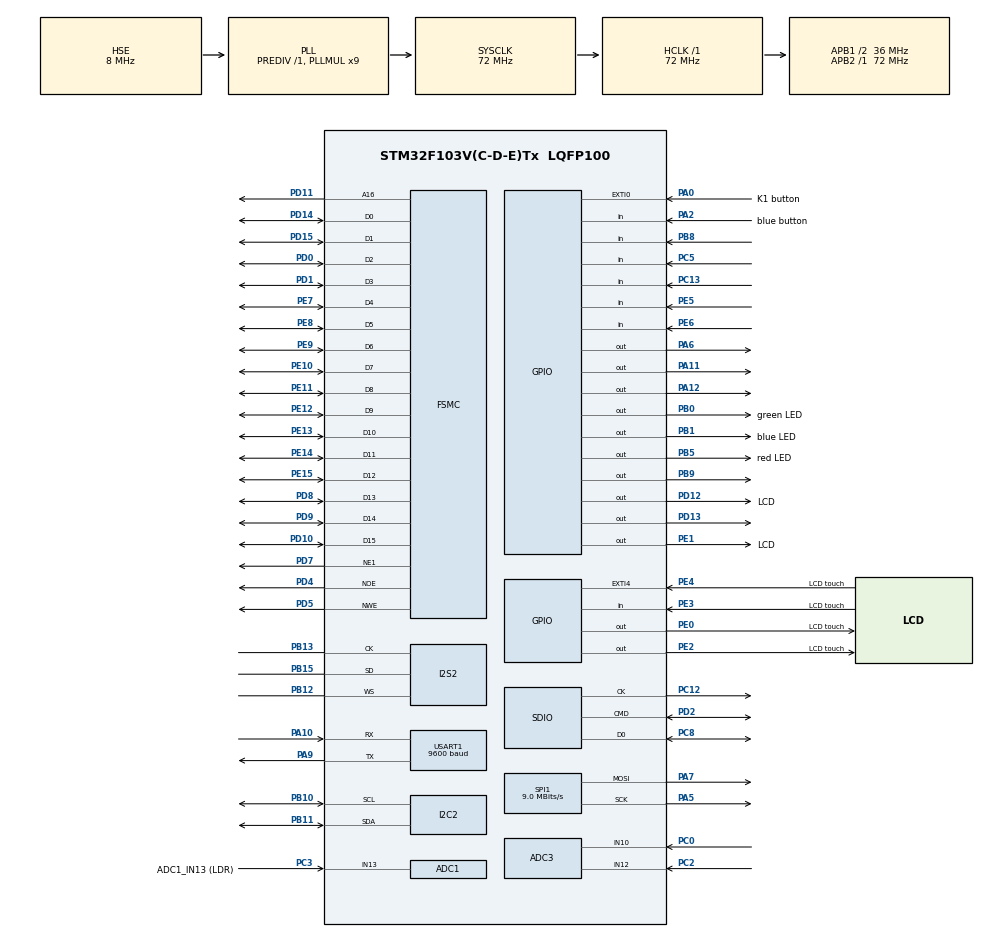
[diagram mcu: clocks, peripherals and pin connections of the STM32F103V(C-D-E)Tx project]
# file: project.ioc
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ADC1.Channel-0\#ChannelRegularConversion=ADC_CHANNEL_13
ADC1.NbrOfConversionFlag=1
ADC1.Rank-0\#ChannelRegularConversion=1
ADC1.SamplingTime-0\#ChannelRegularConversion=ADC_SAMPLETIME_1CYCLE_5
ADC1.master=1
ADC3.Channel-0\#ChannelRegularConversion=ADC_CHANNEL_10
ADC3.Channel-1\#ChannelRegularConversion=ADC_CHANNEL_12
ADC3.ContinuousConvMode=ENABLE
ADC3.NbrOfConversion=2
ADC3.NbrOfConversionFlag=1
ADC3.Rank-0\#ChannelRegularConversion=1
ADC3.Rank-1\#ChannelRegularConversion=2
ADC3.SamplingTime-0\#ChannelRegularConversion=ADC_SAMPLETIME_239CYCLES_5
ADC3.SamplingTime-1\#ChannelRegularConversion=ADC_SAMPLETIME_239CYCLES_5
Dma.ADC3.0.Direction=DMA_PERIPH_TO_MEMORY
Dma.ADC3.0.Instance=DMA2_Channel5
Dma.ADC3.0.MemDataAlignment=DMA_MDATAALIGN_WORD
Dma.ADC3.0.MemInc=DMA_MINC_ENABLE
Dma.ADC3.0.Mode=DMA_CIRCULAR
Dma.ADC3.0.PeriphDataAlignment=DMA_PDATAALIGN_WORD
Dma.ADC3.0.PeriphInc=DMA_PINC_DISABLE
Dma.ADC3.0.Priority=DMA_PRIORITY_LOW
Dma.Request0=ADC3
Dma.Request1=SPI2_TX
Dma.Request2=SPI1_TX
Dma.SPI1_TX.2.Direction=DMA_MEMORY_TO_PERIPH
Dma.SPI1_TX.2.Instance=DMA1_Channel3
Dma.SPI1_TX.2.MemDataAlignment=DMA_MDATAALIGN_BYTE
Dma.SPI1_TX.2.MemInc=DMA_MINC_ENABLE
Dma.SPI1_TX.2.Mode=DMA_NORMAL
Dma.SPI1_TX.2.PeriphDataAlignment=DMA_PDATAALIGN_BYTE
Dma.SPI1_TX.2.PeriphInc=DMA_PINC_DISABLE
Dma.SPI1_TX.2.Priority=DMA_PRIORITY_LOW
Dma.SPI2_TX.1.Direction=DMA_MEMORY_TO_PERIPH
Dma.SPI2_TX.1.Instance=DMA1_Channel5
Dma.SPI2_TX.1.MemDataAlignment=DMA_MDATAALIGN_HALFWORD
Dma.SPI2_TX.1.MemInc=DMA_MINC_ENABLE
Dma.SPI2_TX.1.Mode=DMA_CIRCULAR
Dma.SPI2_TX.1.PeriphDataAlignment=DMA_PDATAALIGN_HALFWORD
Dma.SPI2_TX.1.PeriphInc=DMA_PINC_DISABLE
Dma.SPI2_TX.1.Priority=DMA_PRIORITY_LOW
FATFS._MAX_SS=4096
I2C2.I2C_Mode=I2C_Fast
I2S2.AudioFreq=I2S_AUDIOFREQ_48K
I2S2.CPOL=I2S_CPOL_LOW
I2S2.DataFormat=I2S_DATAFORMAT_16B
I2S2.ErrorAudioFreq=-0.26 %
I2S2.Instance=SPI$Index
I2S2.RealAudioFreq=47.872 KHz
I2S2.VirtualMode=I2S_MODE_MASTER
Mcu.Family=STM32F1
Mcu.Name=STM32F103V(C-D-E)Tx
Mcu.Package=LQFP100
NVIC.DMA1_Channel3_IRQn=true\:0\:0\:false\:false\:true\:false\:true\:true
NVIC.DMA1_Channel5_IRQn=true\:0\:0\:false\:false\:true\:false\:true\:true
NVIC.DMA2_Channel4_5_IRQn=true\:0\:0\:true\:false\:true\:false\:true\:true
NVIC.EXTI0_IRQn=true\:0\:0\:true\:false\:true\:true\:true\:true
NVIC.EXTI4_IRQn=true\:0\:0\:true\:false\:true\:true\:true\:true
NVIC.PriorityGroup=NVIC_PRIORITYGROUP_4
NVIC.TIM3_IRQn=true\:1\:0\:true\:false\:true\:true\:true\:true
OSC_IN.Mode=HSE-External-Oscillator
OSC_IN.Signal=RCC_OSC_IN
OSC_OUT.Mode=HSE-External-Oscillator
OSC_OUT.Signal=RCC_OSC_OUT
PA0-WKUP.GPIO_Label=K1 button
PA0-WKUP.GPIO_ModeDefaultEXTI=GPIO_MODE_IT_RISING
PA0-WKUP.Signal=GPXTI0
PA10.Mode=Asynchronous
PA10.Signal=USART1_RX
PA11.GPIO_ModeDefaultOutputPP=GPIO_MODE_OUTPUT_PP
PA11.GPIO_Speed=GPIO_SPEED_FREQ_HIGH
PA11.PinState=GPIO_PIN_SET
PA11.Signal=GPIO_Output
PA12.GPIO_Speed=GPIO_SPEED_FREQ_HIGH
PA12.Signal=GPIO_Output
PA13.Mode=Serial_Wire
PA13.Signal=SYS_JTMS-SWDIO
PA14.Mode=Serial_Wire
PA14.Signal=SYS_JTCK-SWCLK
PA2.GPIO_Label=blue button
PA2.GPIO_PuPd=GPIO_NOPULL
PA2.Signal=GPIO_Input
PA5.Mode=TX_Only_Simplex_Unidirect_Master
PA5.Signal=SPI1_SCK
PA6.GPIO_Speed=GPIO_SPEED_FREQ_HIGH
PA6.Signal=GPIO_Output
PA7.Mode=TX_Only_Simplex_Unidirect_Master
PA7.Signal=SPI1_MOSI
PA9.Mode=Asynchronous
PA9.Signal=USART1_TX
PB0.GPIO_Label=green LED
PB0.GPIO_Speed=GPIO_SPEED_FREQ_HIGH
PB0.PinState=GPIO_PIN_SET
PB0.Signal=GPIO_Output
PB1.GPIO_Label=blue LED
PB1.GPIO_Speed=GPIO_SPEED_FREQ_HIGH
PB1.PinState=GPIO_PIN_SET
PB1.Signal=GPIO_Output
PB10.Mode=I2C
PB10.Signal=I2C2_SCL
PB11.Mode=I2C
PB11.Signal=I2C2_SDA
PB12.Mode=Half_Duplex_Master_TX
PB12.Signal=I2S2_WS
PB13.Mode=Half_Duplex_Master_TX
PB13.Signal=I2S2_CK
PB15.Mode=Half_Duplex_Master_TX
PB15.Signal=I2S2_SD
PB5.GPIO_Label=red LED
PB5.GPIO_Speed=GPIO_SPEED_FREQ_HIGH
PB5.PinState=GPIO_PIN_SET
PB5.Signal=GPIO_Output
PB8.Signal=GPIO_Input
PB9.Signal=GPIO_Output
PC0.Signal=ADCx_IN10
PC12.Mode=SD_1_bit
PC12.Signal=SDIO_CK
PC13-TAMPER-RTC.Signal=GPIO_Input
PC14-OSC32_IN.Mode=LSE-External-Oscillator
PC14-OSC32_IN.Signal=RCC_OSC32_IN
PC15-OSC32_OUT.Mode=LSE-External-Oscillator
PC15-OSC32_OUT.Signal=RCC_OSC32_OUT
PC2.Signal=ADCx_IN12
PC3.GPIO_Label=ADC1_IN13 (LDR)
PC3.Signal=ADCx_IN13
PC5.Signal=GPIO_Input
PC8.Mode=SD_1_bit
PC8.Signal=SDIO_D0
PD0.Mode=16b-d1
PD0.Signal=FSMC_D2
PD1.Mode=16b-d1
PD1.Signal=FSMC_D3
PD10.Mode=16b-d1
PD10.Signal=FSMC_D15
PD11.Mode=A16_1
PD11.Signal=FSMC_A16
PD12.GPIO_Label=LCD
PD12.GPIO_Speed=GPIO_SPEED_FREQ_HIGH
PD12.Signal=GPIO_Output
PD13.GPIO_Speed=GPIO_SPEED_FREQ_HIGH
PD13.Signal=GPIO_Output
PD14.Mode=16b-d1
PD14.Signal=FSMC_D0
PD15.Mode=16b-d1
PD15.Signal=FSMC_D1
PD2.Mode=SD_1_bit
PD2.Signal=SDIO_CMD
PD4.Mode=Lcd1
PD4.Signal=FSMC_NOE
PD5.Mode=Lcd1
PD5.Signal=FSMC_NWE
PD7.Mode=NorPsramChipSelect1_1
PD7.Signal=FSMC_NE1
PD8.Mode=16b-d1
PD8.Signal=FSMC_D13
PD9.Mode=16b-d1
PD9.Signal=FSMC_D14
PE0.GPIO_Label=LCD touch
PE0.GPIO_Speed=GPIO_SPEED_FREQ_HIGH
PE0.Signal=GPIO_Output
PE1.GPIO_Label=LCD
PE1.GPIO_Speed=GPIO_SPEED_FREQ_HIGH
PE1.Signal=GPIO_Output
PE10.Mode=16b-d1
PE10.Signal=FSMC_D7
PE11.Mode=16b-d1
PE11.Signal=FSMC_D8
PE12.Mode=16b-d1
PE12.Signal=FSMC_D9
PE13.Mode=16b-d1
PE13.Signal=FSMC_D10
PE14.Mode=16b-d1
PE14.Signal=FSMC_D11
PE15.Mode=16b-d1
PE15.Signal=FSMC_D12
PE2.GPIO_Label=LCD touch
PE2.GPIO_Speed=GPIO_SPEED_FREQ_HIGH
PE2.Signal=GPIO_Output
PE3.GPIO_Label=LCD touch
PE3.GPIO_PuPd=GPIO_PULLUP
PE3.Signal=GPIO_Input
PE4.GPIO_Label=LCD touch
PE4.Signal=GPXTI4
PE5.Signal=GPIO_Input
PE6.Signal=GPIO_Input
PE7.Mode=16b-d1
PE7.Signal=FSMC_D4
PE8.Mode=16b-d1
PE8.Signal=FSMC_D5
PE9.Mode=16b-d1
PE9.Signal=FSMC_D6
ProjectManager.HeapSize=0x200
ProjectManager.StackSize=0x400
ProjectManager.TargetToolchain=STM32CubeIDE
RCC.ADCPresc=RCC_ADCPCLK2_DIV6
RCC.AHBFreq_Value=72000000
RCC.APB1CLKDivider=RCC_HCLK_DIV2
RCC.APB1Freq_Value=36000000
RCC.APB1TimFreq_Value=72000000
RCC.APB2Freq_Value=72000000
RCC.APB2TimFreq_Value=72000000
RCC.HCLKFreq_Value=72000000
RCC.PLLMUL=RCC_PLL_MUL9
RCC.PLLSourceVirtual=RCC_PLLSOURCE_HSE
RCC.SYSCLKFreq_VALUE=72000000
RCC.SYSCLKSource=RCC_SYSCLKSOURCE_PLLCLK
RCC.USBFreq_Value=72000000
SDIO.ClockDiv=6
SDIO.HardwareFlowControl=SDIO_HARDWARE_FLOW_CONTROL_ENABLE
SH.ADCx_IN10.0=ADC3_IN10,IN10
SH.ADCx_IN12.0=ADC3_IN12,IN12
SH.ADCx_IN13.0=ADC1_IN13,IN13
SPI1.BaudRatePrescaler=SPI_BAUDRATEPRESCALER_8
SPI1.CalculateBaudRate=9.0 MBits/s
SPI1.Direction=SPI_DIRECTION_2LINES
SPI1.Mode=SPI_MODE_MASTER
SPI1.VirtualType=VM_MASTER
TIM1.Period=0xffff-1
TIM1.Prescaler=72-1
TIM2.Prescaler=71
TIM3.Period=10000
TIM3.Prescaler=7199
USART1.BaudRate=9600
USART1.VirtualMode=VM_ASYNC
VP_FATFS_VS_SDIO.Mode=SDIO
VP_TIM1_VS_ClockSourceINT.Mode=Internal
VP_TIM2_VS_ClockSourceINT.Mode=Internal
VP_TIM3_VS_ClockSourceINT.Mode=Internal
board=custom

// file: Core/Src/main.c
/* USER CODE BEGIN Header */
/**
  ******************************************************************************
  * @file           : main.c
  * @brief          : Main program body
  ******************************************************************************
  * @attention
  *
  * Copyright (c) 2024 STMicroelectronics.
  * All rights reserved.
  *
  * This software is licensed under terms that can be found in the LICENSE file
  * in the root directory of this software component.
  * If no LICENSE file comes with this software, it is provided AS-IS.
  *
  ******************************************************************************
  */
/* USER CODE END Header */
#include "main.h"
#include "fatfs.h"

/* USER CODE BEGIN Includes */
#include "maze.h"
#include "move.h"
#include "xpt2046.h"
#include "max7219.h"
#include "game.h"
#include "mpu6050.h"
/* USER CODE END Includes */

 ADC_HandleTypeDef hadc1;
ADC_HandleTypeDef hadc3;
DMA_HandleTypeDef hdma_adc3;

I2C_HandleTypeDef hi2c2;

I2S_HandleTypeDef hi2s2;
DMA_HandleTypeDef hdma_spi2_tx;

SD_HandleTypeDef hsd;

SPI_HandleTypeDef hspi1;
DMA_HandleTypeDef hdma_spi1_tx;

TIM_HandleTypeDef htim1;
TIM_HandleTypeDef htim2;
TIM_HandleTypeDef htim3;

UART_HandleTypeDef huart1;

SRAM_HandleTypeDef hsram1;

/* USER CODE BEGIN PV */

 //*** start_x, start_y. rows, columns -> need to be odd(for generate_maze algo)***
 uint8_t **maze;	//dynamically allocated array
 uint8_t rows, columns, start_x, end_x, start_y, end_y, current_x, current_y, next_x, next_y;
 uint8_t hearts;
 uint8_t keys = 0;
 uint8_t end = 0; // 0 - not end //1 - win //2 - lose
 uint8_t restart_flag = 0;	//for k1/win/lose check for next round
 volatile int timer = 0;	//mark the count down timer
 volatile int tim = 0;
 uint8_t duration = -1;
 const uint8_t block_size = 16;
 uint32_t joy[] = {0,0};

 uint8_t Rxstr;

 const uint8_t key[] = //24x32
 {
 0x00, 0x00, 0xf8, 0x07, 0x00, 0x00, 0xff, 0x0f, 0x00,
 0x80, 0xff, 0x1f, 0x00, 0xc0, 0xff, 0x3f, 0x00, 0xc0,
 0xff, 0x3f, 0x00, 0xc0, 0xff, 0x7f, 0x00, 0xc0, 0xff,
 0x7f, 0x00, 0xc0, 0xff, 0x7f, 0x00, 0xc0, 0xff, 0x3f,
 0x00, 0xc0, 0xff, 0x3f, 0x00, 0xc0, 0xff, 0x1f, 0x00,
 0xf0, 0xff, 0x0f, 0x00, 0xf8, 0xff, 0x07, 0x00, 0xfc,
 0xff, 0x01, 0x00, 0x7e, 0x00, 0x00, 0x00, 0x3f, 0x00,
 0x00, 0xc0, 0x1f, 0x00, 0x00, 0xe0, 0x07, 0x00, 0x00,
 0xf0, 0x03, 0x00, 0x00, 0xf8, 0x00, 0x00, 0x00, 0x7c,
 0x00, 0x00, 0x00, 0x1c, 0x00, 0x00, 0x00, 0x00, 0x00,
 0x00, 0x00, 0x00, 0x00, 0x00, 0x00
 };

 const uint8_t heart[] =	//24x32
 {
 0xf8, 0x01, 0x80, 0x1f, 0xfc, 0x03, 0xf0, 0x3f, 0xfc,
 0x0f, 0xf8, 0x3f, 0xfe, 0x1f, 0xfc, 0x7f, 0xfe, 0x3f,
 0xfc, 0x7f, 0xfe, 0x7f, 0xfe, 0x7f, 0xfe, 0xff, 0xff,
 0x7f, 0xfe, 0xff, 0xff, 0x7f, 0xfc, 0xff, 0xff, 0x3f,
 0xfc, 0xff, 0xff, 0x3f, 0xfc, 0xff, 0xff, 0x3f, 0xf8,
 0xff, 0xff, 0x1f, 0xf8, 0xff, 0xff, 0x1f, 0xf0, 0xff,
 0xff, 0x0f, 0xf0, 0xff, 0xff, 0x07, 0xe0, 0xff, 0xff,
 0x03, 0xe0, 0xff, 0xff, 0x01, 0xc0, 0xff, 0xff, 0x01,
 0x80, 0xff, 0xff, 0x00, 0x00, 0xfe, 0x7f, 0x00, 0x00,
 0xfc, 0x3f, 0x00, 0x00, 0xf8, 0x1f, 0x00, 0x00, 0xf0,
 0x1f, 0x00, 0x00, 0xc0, 0x07, 0x00
 };

 const uint8_t start[] =	//16x16
 {
 0xc0, 0x03, 0xe0, 0x0f, 0xf0, 0x1f, 0xf8, 0x1f, 0xf8, 0x1f, 0xf8, 0x1f, 0xf8, 0x1f, 0xf0, 0x0f, 0xc0, 0x07, 0xf0, 0x1f, 0xd8, 0x37, 0xcc, 0x67, 0xc0, 0x07, 0xc0, 0x06, 0xc0, 0x06, 0xc0, 0x06
 };
 const uint8_t endpt[] =
 {
 0x00, 0x00, 0x00, 0x00, 0x38, 0x20, 0xfe, 0x38, 0xfe, 0x3f, 0xfe, 0x3f, 0xfe, 0x3f, 0xfe, 0x3f, 0xfe, 0x3f, 0xc6, 0x3f, 0x00, 0x3f, 0x00, 0x30, 0x00, 0x30, 0x00, 0x30, 0x00, 0x30, 0x00, 0x30
 };
 const uint8_t elekey[] =
 {
 0x00, 0x00, 0x00, 0x3f, 0xc0, 0x7f, 0xc0, 0x7f, 0xc0, 0xff, 0xc0, 0xff, 0xc0, 0xff, 0x80, 0xff, 0xc0, 0x7f, 0xe0, 0x3d, 0xf0, 0x01, 0xf8, 0x00, 0x3c, 0x00, 0x1e, 0x00, 0x0e, 0x00, 0x00, 0x00
 };
 const uint8_t game[] =
 {
 0xc0, 0x01, 0xe0, 0x03, 0xf0, 0x07, 0xf0, 0x07, 0xf0, 0x07, 0xf0, 0x07, 0xf0, 0x07, 0xf0, 0x07, 0xf0, 0x07, 0xe0, 0x03, 0xe0, 0x03, 0xe0, 0x03, 0xc0, 0x01, 0x00, 0x00, 0xc0, 0x01, 0xc0, 0x01
 };
 const uint8_t event[] =
 {
 0xc0, 0x07, 0xf0, 0x1f, 0xf8, 0x3f, 0x3c, 0x38, 0x1c, 0x38, 0x1c, 0x1e, 0x00, 0x1f, 0xc0, 0x0f, 0xc0, 0x03, 0xc0, 0x01, 0xc0, 0x01, 0xc0, 0x01, 0xc0, 0x01, 0x00, 0x00, 0xc0, 0x01, 0xc0, 0x01
 };
 const uint8_t sheart[] =
 {
 0x00, 0x00, 0x1c, 0x38, 0x3e, 0x7c, 0x7f, 0xfe, 0xff, 0xff, 0xff, 0xff, 0xfe, 0x7f, 0xfe, 0x7f, 0xfc, 0x3f, 0xf8, 0x1f, 0xf0, 0x0f, 0xe0, 0x07, 0xe0, 0x03, 0xc0, 0x03, 0x80, 0x01, 0x00, 0x00
 };
 const uint8_t toxic[] =
 {
 0x00, 0x00, 0xf0, 0x07, 0xf9, 0x4f, 0xcf, 0x79, 0xcf, 0x79, 0xcc, 0x19, 0xf8, 0x0f, 0x7c, 0x1f, 0x3e, 0x3e, 0xff, 0x7f, 0xe3, 0x63, 0xe1, 0x43, 0xc0, 0x01, 0x00, 0x00, 0x00, 0x00, 0x00, 0x00
 };
 const uint8_t random_move[] =
 {
 0x58, 0x04, 0x98, 0x84, 0x30, 0xcd, 0xe3, 0x6f, 0xfe, 0x1f, 0xfc, 0xef, 0xfc, 0x3f, 0xfe, 0x1f, 0xff, 0x1f, 0xf8, 0x7f, 0xfe, 0x8f, 0xf2, 0x1b, 0xb9, 0x19, 0x18, 0x33, 0x08, 0x03, 0x00, 0x02
 };

// MPU6050_t MPU6050;
/* USER CODE END PV */

void SystemClock_Config(void);
static void MX_GPIO_Init(void);
static void MX_FSMC_Init(void);
static void MX_ADC1_Init(void);
static void MX_TIM3_Init(void);
static void MX_TIM1_Init(void);
static void MX_I2S2_Init(void);
static void MX_SDIO_SD_Init(void);
static void MX_DMA_Init(void);
static void MX_ADC3_Init(void);
static void MX_SPI1_Init(void);
static void MX_USART1_UART_Init(void);
static void MX_TIM2_Init(void);
static void MX_I2C2_Init(void);
/* USER CODE BEGIN PFP */
void HAL_I2S_TxHalfCpltCallback(I2S_HandleTypeDef *hi2s);
void HAL_I2S_TxCpltCallback(I2S_HandleTypeDef *hi2s);
/* USER CODE END PFP */

/* USER CODE BEGIN 0 */
/*
int measure_Distance() {
    double initialX = 0;

    MPU6050_Read_All(&hi2c2, &MPU6050);
    HAL_Delay(100);

    char textangle[] = "X";
    LCD_DrawString(40, 60, textangle, RED);
    char angleString[4];
    initialX = MPU6050.Ax * 100;

    sprintf(angleString, "%.2f", initialX);
    LCD_DrawString(80, 80, angleString, RED);
    HAL_Delay(200);
    LCD_DrawString(80, 80,  "                   ", RED);

    return initialX; // Return the calculated distanceX, you can modify this to return distanceY or any other value based on your requirements
}

int pushorpull() {
    while (1) {

    	double X1 = measure_Distance();
		HAL_Delay(750);
    	double X2 = measure_Distance();

        if (X1 >= X2) {
            LCD_DrawChar(60,60, 'F', RED);
            HAL_Delay(100);
            return 0;

        } else {
            LCD_DrawChar(60,60, 'B', RED);
            HAL_Delay(100);
            return 1;

        }
    }
}
*/

/* USER CODE END 0 */

int main(void)
{

  /* MCU Configuration--------------------------------------------------------*/

  /* Reset of all peripherals, Initializes the Flash interface and the Systick. */
  HAL_Init();

  /* Configure the system clock */
  SystemClock_Config();

  /* Initialize all configured peripherals */
  MX_GPIO_Init();
  MX_FSMC_Init();
  MX_ADC1_Init();
  MX_TIM3_Init();
  MX_TIM1_Init();
  MX_I2S2_Init();
  MX_SDIO_SD_Init();
  MX_DMA_Init();
  MX_ADC3_Init();
  MX_FATFS_Init();
  MX_SPI1_Init();
  MX_USART1_UART_Init();
  MX_TIM2_Init();
  MX_I2C2_Init();
  /* USER CODE BEGIN 2 */
  macXPT2046_CS_DISABLE();
  LCD_INIT();
  HAL_TIM_Base_Start_IT(&htim3);
  HAL_TIM_Base_Start_IT(&htim1);
  HAL_ADCEx_Calibration_Start(&hadc1);	//adc calibration
  HAL_ADCEx_Calibration_Start(&hadc3);	//adc calibration
  HAL_ADC_Start_DMA(&hadc3, joy, 2);
  max7219_Init();
  //HAL_ADC_Stop(&hadc3);
  HAL_TIM_Base_Start(&htim2);

  //light_pattern();
  /* USER CODE END 2 */

  /* Infinite loop */
  /* USER CODE BEGIN WHILE */
  /*
  while (MPU6050_Init(&hi2c2) == 1);

    int temp = pushorpull();
    if (temp == 0)
    {
  	  char forward[] = "Forward";
  	  LCD_DrawString(10, 10, forward, RED);
    }
    if (temp == 1)
    {
  	  char backward[] = "Backward";
  	  LCD_DrawString(10, 10, backward, RED);
    }*/

  while( ! XPT2046_Touch_Calibrate () );

  setRandomSeed();	//random the seed
  maze_all();

  //interrupt - k1 -> next round

  while (1)
  {
	  //handle movement
	 move();
    /* USER CODE END WHILE */

  }
}

void SystemClock_Config(void)
{
  RCC_OscInitTypeDef RCC_OscInitStruct = {0};
  RCC_ClkInitTypeDef RCC_ClkInitStruct = {0};
  RCC_PeriphCLKInitTypeDef PeriphClkInit = {0};

  /** Initializes the RCC Oscillators according to the specified parameters
  * in the RCC_OscInitTypeDef structure.
  */
  RCC_OscInitStruct.OscillatorType = RCC_OSCILLATORTYPE_HSE;
  RCC_OscInitStruct.HSEState = RCC_HSE_ON;
  RCC_OscInitStruct.HSEPredivValue = RCC_HSE_PREDIV_DIV1;
  RCC_OscInitStruct.HSIState = RCC_HSI_ON;
  RCC_OscInitStruct.PLL.PLLState = RCC_PLL_ON;
  RCC_OscInitStruct.PLL.PLLSource = RCC_PLLSOURCE_HSE;
  RCC_OscInitStruct.PLL.PLLMUL = RCC_PLL_MUL9;
  if (HAL_RCC_OscConfig(&RCC_OscInitStruct) != HAL_OK)
  {
    Error_Handler();
  }

  /** Initializes the CPU, AHB and APB buses clocks
  */
  RCC_ClkInitStruct.ClockType = RCC_CLOCKTYPE_HCLK|RCC_CLOCKTYPE_SYSCLK
                              |RCC_CLOCKTYPE_PCLK1|RCC_CLOCKTYPE_PCLK2;
  RCC_ClkInitStruct.SYSCLKSource = RCC_SYSCLKSOURCE_PLLCLK;
  RCC_ClkInitStruct.AHBCLKDivider = RCC_SYSCLK_DIV1;
  RCC_ClkInitStruct.APB1CLKDivider = RCC_HCLK_DIV2;
  RCC_ClkInitStruct.APB2CLKDivider = RCC_HCLK_DIV1;

  if (HAL_RCC_ClockConfig(&RCC_ClkInitStruct, FLASH_LATENCY_2) != HAL_OK)
  {
    Error_Handler();
  }
  PeriphClkInit.PeriphClockSelection = RCC_PERIPHCLK_ADC|RCC_PERIPHCLK_I2S2;
  PeriphClkInit.AdcClockSelection = RCC_ADCPCLK2_DIV6;
  PeriphClkInit.I2s2ClockSelection = RCC_I2S2CLKSOURCE_SYSCLK;
  if (HAL_RCCEx_PeriphCLKConfig(&PeriphClkInit) != HAL_OK)
  {
    Error_Handler();
  }
}

static void MX_ADC1_Init(void)
{

  ADC_ChannelConfTypeDef sConfig = {0};

  /** Common config
  */
  hadc1.Instance = ADC1;
  hadc1.Init.ScanConvMode = ADC_SCAN_DISABLE;
  hadc1.Init.ContinuousConvMode = DISABLE;
  hadc1.Init.DiscontinuousConvMode = DISABLE;
  hadc1.Init.ExternalTrigConv = ADC_SOFTWARE_START;
  hadc1.Init.DataAlign = ADC_DATAALIGN_RIGHT;
  hadc1.Init.NbrOfConversion = 1;
  if (HAL_ADC_Init(&hadc1) != HAL_OK)
  {
    Error_Handler();
  }

  /** Configure Regular Channel
  */
  sConfig.Channel = ADC_CHANNEL_13;
  sConfig.Rank = ADC_REGULAR_RANK_1;
  sConfig.SamplingTime = ADC_SAMPLETIME_1CYCLE_5;
  if (HAL_ADC_ConfigChannel(&hadc1, &sConfig) != HAL_OK)
  {
    Error_Handler();
  }

}

static void MX_ADC3_Init(void)
{

  ADC_ChannelConfTypeDef sConfig = {0};

  /** Common config
  */
  hadc3.Instance = ADC3;
  hadc3.Init.ScanConvMode = ADC_SCAN_ENABLE;
  hadc3.Init.ContinuousConvMode = ENABLE;
  hadc3.Init.DiscontinuousConvMode = DISABLE;
  hadc3.Init.ExternalTrigConv = ADC_SOFTWARE_START;
  hadc3.Init.DataAlign = ADC_DATAALIGN_RIGHT;
  hadc3.Init.NbrOfConversion = 2;
  if (HAL_ADC_Init(&hadc3) != HAL_OK)
  {
    Error_Handler();
  }

  /** Configure Regular Channel
  */
  sConfig.Channel = ADC_CHANNEL_10;
  sConfig.Rank = ADC_REGULAR_RANK_1;
  sConfig.SamplingTime = ADC_SAMPLETIME_239CYCLES_5;
  if (HAL_ADC_ConfigChannel(&hadc3, &sConfig) != HAL_OK)
  {
    Error_Handler();
  }

  /** Configure Regular Channel
  */
  sConfig.Channel = ADC_CHANNEL_12;
  sConfig.Rank = ADC_REGULAR_RANK_2;
  if (HAL_ADC_ConfigChannel(&hadc3, &sConfig) != HAL_OK)
  {
    Error_Handler();
  }

}

static void MX_I2C2_Init(void)
{

  hi2c2.Instance = I2C2;
  hi2c2.Init.ClockSpeed = 400000;
  hi2c2.Init.DutyCycle = I2C_DUTYCYCLE_2;
  hi2c2.Init.OwnAddress1 = 0;
  hi2c2.Init.AddressingMode = I2C_ADDRESSINGMODE_7BIT;
  hi2c2.Init.DualAddressMode = I2C_DUALADDRESS_DISABLE;
  hi2c2.Init.OwnAddress2 = 0;
  hi2c2.Init.GeneralCallMode = I2C_GENERALCALL_DISABLE;
  hi2c2.Init.NoStretchMode = I2C_NOSTRETCH_DISABLE;
  if (HAL_I2C_Init(&hi2c2) != HAL_OK)
  {
    Error_Handler();
  }

}

static void MX_I2S2_Init(void)
{

  hi2s2.Instance = SPI2;
  hi2s2.Init.Mode = I2S_MODE_MASTER_TX;
  hi2s2.Init.Standard = I2S_STANDARD_PHILIPS;
  hi2s2.Init.DataFormat = I2S_DATAFORMAT_16B;
  hi2s2.Init.MCLKOutput = I2S_MCLKOUTPUT_DISABLE;
  hi2s2.Init.AudioFreq = I2S_AUDIOFREQ_48K;
  hi2s2.Init.CPOL = I2S_CPOL_LOW;
  if (HAL_I2S_Init(&hi2s2) != HAL_OK)
  {
    Error_Handler();
  }

}

static void MX_SDIO_SD_Init(void)
{

  hsd.Instance = SDIO;
  hsd.Init.ClockEdge = SDIO_CLOCK_EDGE_RISING;
  hsd.Init.ClockBypass = SDIO_CLOCK_BYPASS_DISABLE;
  hsd.Init.ClockPowerSave = SDIO_CLOCK_POWER_SAVE_DISABLE;
  hsd.Init.BusWide = SDIO_BUS_WIDE_1B;
  hsd.Init.HardwareFlowControl = SDIO_HARDWARE_FLOW_CONTROL_ENABLE;
  hsd.Init.ClockDiv = 6;
  /* USER CODE BEGIN SDIO_Init 2 */
  if (HAL_SD_Init(&hsd) != HAL_OK){Error_Handler();}
  if (HAL_SD_ConfigWideBusOperation(&hsd, SDIO_BUS_WIDE_4B) != HAL_OK){Error_Handler();}
  /* USER CODE END SDIO_Init 2 */

}

static void MX_SPI1_Init(void)
{

  /* SPI1 parameter configuration*/
  hspi1.Instance = SPI1;
  hspi1.Init.Mode = SPI_MODE_MASTER;
  hspi1.Init.Direction = SPI_DIRECTION_2LINES;
  hspi1.Init.DataSize = SPI_DATASIZE_8BIT;
  hspi1.Init.CLKPolarity = SPI_POLARITY_LOW;
  hspi1.Init.CLKPhase = SPI_PHASE_1EDGE;
  hspi1.Init.NSS = SPI_NSS_SOFT;
  hspi1.Init.BaudRatePrescaler = SPI_BAUDRATEPRESCALER_8;
  hspi1.Init.FirstBit = SPI_FIRSTBIT_MSB;
  hspi1.Init.TIMode = SPI_TIMODE_DISABLE;
  hspi1.Init.CRCCalculation = SPI_CRCCALCULATION_DISABLE;
  hspi1.Init.CRCPolynomial = 10;
  if (HAL_SPI_Init(&hspi1) != HAL_OK)
  {
    Error_Handler();
  }

}

static void MX_TIM1_Init(void)
{

  TIM_ClockConfigTypeDef sClockSourceConfig = {0};
  TIM_MasterConfigTypeDef sMasterConfig = {0};

  htim1.Instance = TIM1;
  htim1.Init.Prescaler = 72-1;
  htim1.Init.CounterMode = TIM_COUNTERMODE_UP;
  htim1.Init.Period = 0xffff-1;
  htim1.Init.ClockDivision = TIM_CLOCKDIVISION_DIV1;
  htim1.Init.RepetitionCounter = 0;
  htim1.Init.AutoReloadPreload = TIM_AUTORELOAD_PRELOAD_DISABLE;
  if (HAL_TIM_Base_Init(&htim1) != HAL_OK)
  {
    Error_Handler();
  }
  sClockSourceConfig.ClockSource = TIM_CLOCKSOURCE_INTERNAL;
  if (HAL_TIM_ConfigClockSource(&htim1, &sClockSourceConfig) != HAL_OK)
  {
    Error_Handler();
  }
  sMasterConfig.MasterOutputTrigger = TIM_TRGO_RESET;
  sMasterConfig.MasterSlaveMode = TIM_MASTERSLAVEMODE_DISABLE;
  if (HAL_TIMEx_MasterConfigSynchronization(&htim1, &sMasterConfig) != HAL_OK)
  {
    Error_Handler();
  }

}

static void MX_TIM2_Init(void)
{

  TIM_ClockConfigTypeDef sClockSourceConfig = {0};
  TIM_MasterConfigTypeDef sMasterConfig = {0};

  htim2.Instance = TIM2;
  htim2.Init.Prescaler = 71;
  htim2.Init.CounterMode = TIM_COUNTERMODE_UP;
  htim2.Init.Period = 65535;
  htim2.Init.ClockDivision = TIM_CLOCKDIVISION_DIV1;
  htim2.Init.AutoReloadPreload = TIM_AUTORELOAD_PRELOAD_DISABLE;
  if (HAL_TIM_Base_Init(&htim2) != HAL_OK)
  {
    Error_Handler();
  }
  sClockSourceConfig.ClockSource = TIM_CLOCKSOURCE_INTERNAL;
  if (HAL_TIM_ConfigClockSource(&htim2, &sClockSourceConfig) != HAL_OK)
  {
    Error_Handler();
  }
  sMasterConfig.MasterOutputTrigger = TIM_TRGO_RESET;
  sMasterConfig.MasterSlaveMode = TIM_MASTERSLAVEMODE_DISABLE;
  if (HAL_TIMEx_MasterConfigSynchronization(&htim2, &sMasterConfig) != HAL_OK)
  {
    Error_Handler();
  }

}

static void MX_TIM3_Init(void)
{

  TIM_ClockConfigTypeDef sClockSourceConfig = {0};
  TIM_MasterConfigTypeDef sMasterConfig = {0};

  htim3.Instance = TIM3;
  htim3.Init.Prescaler = 7199;
  htim3.Init.CounterMode = TIM_COUNTERMODE_UP;
  htim3.Init.Period = 10000;
  htim3.Init.ClockDivision = TIM_CLOCKDIVISION_DIV1;
  htim3.Init.AutoReloadPreload = TIM_AUTORELOAD_PRELOAD_DISABLE;
  if (HAL_TIM_Base_Init(&htim3) != HAL_OK)
  {
    Error_Handler();
  }
  sClockSourceConfig.ClockSource = TIM_CLOCKSOURCE_INTERNAL;
  if (HAL_TIM_ConfigClockSource(&htim3, &sClockSourceConfig) != HAL_OK)
  {
    Error_Handler();
  }
  sMasterConfig.MasterOutputTrigger = TIM_TRGO_RESET;
  sMasterConfig.MasterSlaveMode = TIM_MASTERSLAVEMODE_DISABLE;
  if (HAL_TIMEx_MasterConfigSynchronization(&htim3, &sMasterConfig) != HAL_OK)
  {
    Error_Handler();
  }

}

static void MX_USART1_UART_Init(void)
{

  huart1.Instance = USART1;
  huart1.Init.BaudRate = 9600;
  huart1.Init.WordLength = UART_WORDLENGTH_8B;
  huart1.Init.StopBits = UART_STOPBITS_1;
  huart1.Init.Parity = UART_PARITY_NONE;
  huart1.Init.Mode = UART_MODE_TX_RX;
  huart1.Init.HwFlowCtl = UART_HWCONTROL_NONE;
  huart1.Init.OverSampling = UART_OVERSAMPLING_16;
  if (HAL_UART_Init(&huart1) != HAL_OK)
  {
    Error_Handler();
  }

}

static void MX_DMA_Init(void)
{

  /* DMA controller clock enable */
  __HAL_RCC_DMA2_CLK_ENABLE();
  __HAL_RCC_DMA1_CLK_ENABLE();

  /* DMA interrupt init */
  /* DMA1_Channel3_IRQn interrupt configuration */
  HAL_NVIC_SetPriority(DMA1_Channel3_IRQn, 0, 0);
  HAL_NVIC_EnableIRQ(DMA1_Channel3_IRQn);
  /* DMA1_Channel5_IRQn interrupt configuration */
  HAL_NVIC_SetPriority(DMA1_Channel5_IRQn, 0, 0);
  HAL_NVIC_EnableIRQ(DMA1_Channel5_IRQn);
  /* DMA2_Channel4_5_IRQn interrupt configuration */
  HAL_NVIC_SetPriority(DMA2_Channel4_5_IRQn, 0, 0);
  HAL_NVIC_EnableIRQ(DMA2_Channel4_5_IRQn);

}

static void MX_GPIO_Init(void)
{
  GPIO_InitTypeDef GPIO_InitStruct = {0};

  /* GPIO Ports Clock Enable */
  __HAL_RCC_GPIOE_CLK_ENABLE();
  __HAL_RCC_GPIOC_CLK_ENABLE();
  __HAL_RCC_GPIOA_CLK_ENABLE();
  __HAL_RCC_GPIOB_CLK_ENABLE();
  __HAL_RCC_GPIOD_CLK_ENABLE();

  /*Configure GPIO pin Output Level */
  HAL_GPIO_WritePin(GPIOE, LCD_touch_Pin|LCD_touchE0_Pin|LCDE1_Pin, GPIO_PIN_RESET);

  /*Configure GPIO pin Output Level */
  HAL_GPIO_WritePin(GPIOA, GPIO_PIN_6|GPIO_PIN_12, GPIO_PIN_RESET);

  /*Configure GPIO pin Output Level */
  HAL_GPIO_WritePin(GPIOB, green_LED_Pin|blue_LED_Pin|red_LED_Pin, GPIO_PIN_SET);

  /*Configure GPIO pin Output Level */
  HAL_GPIO_WritePin(GPIOD, LCD_Pin|GPIO_PIN_13, GPIO_PIN_RESET);

  /*Configure GPIO pin Output Level */
  HAL_GPIO_WritePin(GPIOA, GPIO_PIN_11, GPIO_PIN_SET);

  /*Configure GPIO pin Output Level */
  HAL_GPIO_WritePin(GPIOB, GPIO_PIN_9, GPIO_PIN_RESET);

  /*Configure GPIO pins : LCD_touch_Pin LCD_touchE0_Pin LCDE1_Pin */
  GPIO_InitStruct.Pin = LCD_touch_Pin|LCD_touchE0_Pin|LCDE1_Pin;
  GPIO_InitStruct.Mode = GPIO_MODE_OUTPUT_PP;
  GPIO_InitStruct.Pull = GPIO_NOPULL;
  GPIO_InitStruct.Speed = GPIO_SPEED_FREQ_HIGH;
  HAL_GPIO_Init(GPIOE, &GPIO_InitStruct);

  /*Configure GPIO pin : LCD_touchE3_Pin */
  GPIO_InitStruct.Pin = LCD_touchE3_Pin;
  GPIO_InitStruct.Mode = GPIO_MODE_INPUT;
  GPIO_InitStruct.Pull = GPIO_PULLUP;
  HAL_GPIO_Init(LCD_touchE3_GPIO_Port, &GPIO_InitStruct);

  /*Configure GPIO pin : LCD_touchE4_Pin */
  GPIO_InitStruct.Pin = LCD_touchE4_Pin;
  GPIO_InitStruct.Mode = GPIO_MODE_IT_RISING;
  GPIO_InitStruct.Pull = GPIO_NOPULL;
  HAL_GPIO_Init(LCD_touchE4_GPIO_Port, &GPIO_InitStruct);

  /*Configure GPIO pins : PE5 PE6 */
  GPIO_InitStruct.Pin = GPIO_PIN_5|GPIO_PIN_6;
  GPIO_InitStruct.Mode = GPIO_MODE_INPUT;
  GPIO_InitStruct.Pull = GPIO_NOPULL;
  HAL_GPIO_Init(GPIOE, &GPIO_InitStruct);

  /*Configure GPIO pins : PC13 PC5 */
  GPIO_InitStruct.Pin = GPIO_PIN_13|GPIO_PIN_5;
  GPIO_InitStruct.Mode = GPIO_MODE_INPUT;
  GPIO_InitStruct.Pull = GPIO_NOPULL;
  HAL_GPIO_Init(GPIOC, &GPIO_InitStruct);

  /*Configure GPIO pin : K1_button_Pin */
  GPIO_InitStruct.Pin = K1_button_Pin;
  GPIO_InitStruct.Mode = GPIO_MODE_IT_RISING;
  GPIO_InitStruct.Pull = GPIO_NOPULL;
  HAL_GPIO_Init(K1_button_GPIO_Port, &GPIO_InitStruct);

  /*Configure GPIO pin : blue_button_Pin */
  GPIO_InitStruct.Pin = blue_button_Pin;
  GPIO_InitStruct.Mode = GPIO_MODE_INPUT;
  GPIO_InitStruct.Pull = GPIO_NOPULL;
  HAL_GPIO_Init(blue_button_GPIO_Port, &GPIO_InitStruct);

  /*Configure GPIO pins : PA6 PA11 PA12 */
  GPIO_InitStruct.Pin = GPIO_PIN_6|GPIO_PIN_11|GPIO_PIN_12;
  GPIO_InitStruct.Mode = GPIO_MODE_OUTPUT_PP;
  GPIO_InitStruct.Pull = GPIO_NOPULL;
  GPIO_InitStruct.Speed = GPIO_SPEED_FREQ_HIGH;
  HAL_GPIO_Init(GPIOA, &GPIO_InitStruct);

  /*Configure GPIO pins : green_LED_Pin blue_LED_Pin red_LED_Pin */
  GPIO_InitStruct.Pin = green_LED_Pin|blue_LED_Pin|red_LED_Pin;
  GPIO_InitStruct.Mode = GPIO_MODE_OUTPUT_PP;
  GPIO_InitStruct.Pull = GPIO_NOPULL;
  GPIO_InitStruct.Speed = GPIO_SPEED_FREQ_HIGH;
  HAL_GPIO_Init(GPIOB, &GPIO_InitStruct);

  /*Configure GPIO pins : LCD_Pin PD13 */
  GPIO_InitStruct.Pin = LCD_Pin|GPIO_PIN_13;
  GPIO_InitStruct.Mode = GPIO_MODE_OUTPUT_PP;
  GPIO_InitStruct.Pull = GPIO_NOPULL;
  GPIO_InitStruct.Speed = GPIO_SPEED_FREQ_HIGH;
  HAL_GPIO_Init(GPIOD, &GPIO_InitStruct);

  /*Configure GPIO pin : PB8 */
  GPIO_InitStruct.Pin = GPIO_PIN_8;
  GPIO_InitStruct.Mode = GPIO_MODE_INPUT;
  GPIO_InitStruct.Pull = GPIO_NOPULL;
  HAL_GPIO_Init(GPIOB, &GPIO_InitStruct);

  /*Configure GPIO pin : PB9 */
  GPIO_InitStruct.Pin = GPIO_PIN_9;
  GPIO_InitStruct.Mode = GPIO_MODE_OUTPUT_PP;
  GPIO_InitStruct.Pull = GPIO_NOPULL;
  GPIO_InitStruct.Speed = GPIO_SPEED_FREQ_LOW;
  HAL_GPIO_Init(GPIOB, &GPIO_InitStruct);

  /* EXTI interrupt init*/
  HAL_NVIC_SetPriority(EXTI0_IRQn, 0, 0);
  HAL_NVIC_EnableIRQ(EXTI0_IRQn);

  HAL_NVIC_SetPriority(EXTI4_IRQn, 0, 0);
  HAL_NVIC_EnableIRQ(EXTI4_IRQn);

}

/* FSMC initialization function */
static void MX_FSMC_Init(void)
{

  FSMC_NORSRAM_TimingTypeDef Timing = {0};

  /** Perform the SRAM1 memory initialization sequence
  */
  hsram1.Instance = FSMC_NORSRAM_DEVICE;
  hsram1.Extended = FSMC_NORSRAM_EXTENDED_DEVICE;
  /* hsram1.Init */
  hsram1.Init.NSBank = FSMC_NORSRAM_BANK1;
  hsram1.Init.DataAddressMux = FSMC_DATA_ADDRESS_MUX_DISABLE;
  hsram1.Init.MemoryType = FSMC_MEMORY_TYPE_SRAM;
  hsram1.Init.MemoryDataWidth = FSMC_NORSRAM_MEM_BUS_WIDTH_16;
  hsram1.Init.BurstAccessMode = FSMC_BURST_ACCESS_MODE_DISABLE;
  hsram1.Init.WaitSignalPolarity = FSMC_WAIT_SIGNAL_POLARITY_LOW;
  hsram1.Init.WrapMode = FSMC_WRAP_MODE_DISABLE;
  hsram1.Init.WaitSignalActive = FSMC_WAIT_TIMING_BEFORE_WS;
  hsram1.Init.WriteOperation = FSMC_WRITE_OPERATION_ENABLE;
  hsram1.Init.WaitSignal = FSMC_WAIT_SIGNAL_DISABLE;
  hsram1.Init.ExtendedMode = FSMC_EXTENDED_MODE_DISABLE;
  hsram1.Init.AsynchronousWait = FSMC_ASYNCHRONOUS_WAIT_DISABLE;
  hsram1.Init.WriteBurst = FSMC_WRITE_BURST_DISABLE;
  /* Timing */
  Timing.AddressSetupTime = 15;
  Timing.AddressHoldTime = 15;
  Timing.DataSetupTime = 255;
  Timing.BusTurnAroundDuration = 15;
  Timing.CLKDivision = 16;
  Timing.DataLatency = 17;
  Timing.AccessMode = FSMC_ACCESS_MODE_A;
  /* ExtTiming */

  if (HAL_SRAM_Init(&hsram1, &Timing, NULL) != HAL_OK)
  {
    Error_Handler( );
  }

  /** Disconnect NADV
  */

  __HAL_AFIO_FSMCNADV_DISCONNECTED();

}

/* USER CODE BEGIN 4 */
void HAL_TIM_PeriodElapsedCallback(TIM_HandleTypeDef *htim){	//one second timer for timer3
	//HAL_GPIO_TogglePin(GPIOB, GPIO_PIN_1);
	if (timer >= 0) {
		print_digit(timer);
		timer--;
	}
	if (duration >= 0) duration++;
}

/* USER CODE END 4 */

void Error_Handler(void)
{
  __disable_irq();
  while (1)
  {
  }
}
